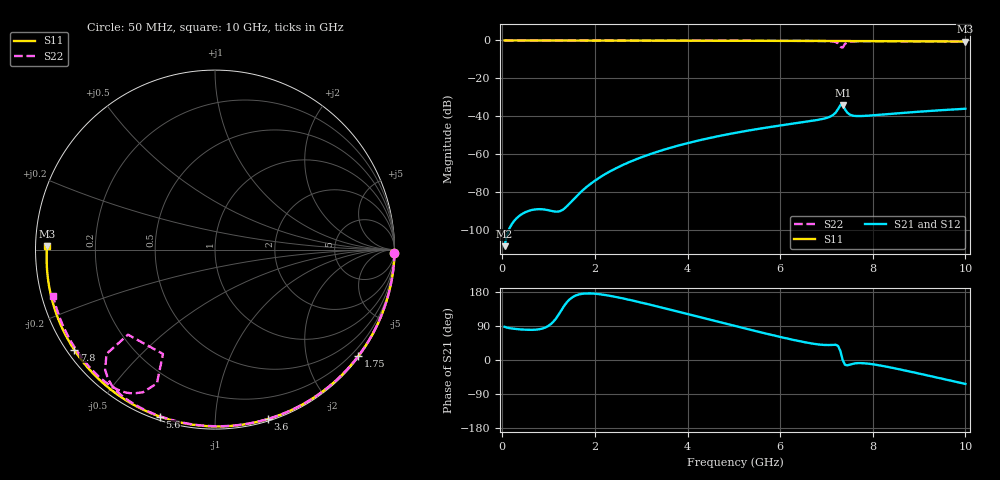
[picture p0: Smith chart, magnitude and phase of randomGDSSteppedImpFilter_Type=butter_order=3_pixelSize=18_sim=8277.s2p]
! freq	dB(S11)	phase(S11)	dB(S12)	phase(S12)
!  dB(S21)	phase(S21)	dB(S22)	phase(S22)
!S-par simulation data
#  GHz  S  DB  R 50
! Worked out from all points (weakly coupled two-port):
!   200 points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, 50 MHz to 10 GHz, reference 50 ohm
!   highest |S21| = -34.10 dB at 7.35 GHz (marker M1); lowest = -108.4 dB at 50 MHz (marker M2)
!   lowest |S11| = -0.6 dB at 10 GHz (marker M3), VSWR 30.22, Z = 1.65 + j0.558 ohm
!   |S11| at or under -10 dB: nowhere
!   |S22| runs from -3.7 to 0.0 dB; largest |S21 - S12| = 0
!   S11 on the Smith chart (normalised r, x): 50 MHz: open; 1.75 GHz: 0.03, -3.02; 3.6 GHz: 0.02, -1.36; 5.6 GHz: 0.02, -0.72; 7.8 GHz: 0.02, -0.32; 10 GHz: 0.03, +0.01
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0.05  -0.00 -1.1  -108.41 87.5  -108.41 87.5  -0.00 -1.0
0.8  -0.02 -17.0  -88.89 81.2  -88.89 81.2  -0.02 -15.3
1.65  -0.04 -34.6  -80.93 172.8  -80.93 172.8  -0.04 -31.2
1.75  -0.05 -36.6  -78.67 175.1  -78.67 175.1  -0.04 -33.1
2.05  -0.05 -42.7  -73.06 174.3  -73.06 174.3  -0.05 -38.6
2.45  -0.06 -50.6  -67.41 166.4  -67.41 166.4  -0.06 -45.9
3.4  -0.09 -69.0  -58.24 139.7  -58.24 139.7  -0.08 -62.7
3.6  -0.10 -72.8  -56.76 133.6  -56.76 133.6  -0.09 -66.1
5.05  -0.15 -98.9  -48.62 88.9  -48.62 88.9  -0.14 -90.4
5.6  -0.18 -108.3  -46.32 72.4  -46.32 72.4  -0.17 -99.3
6.7  -0.24 -126.7  -42.32 43.2  -42.32 43.2  -0.25 -117.6
7.1  -0.27 -133.2  -39.88 39.8  -39.88 39.8  -0.45 -127.3
7.2  -0.28 -134.8  -37.97 40.1  -37.97 40.1  -0.84 -132.4
7.25  -0.29 -135.7  -36.22 37.0  -36.22 37.0  -1.53 -136.1
7.3  -0.29 -136.5  -34.13 24.1  -34.13 24.1  -3.37 -135.7
7.35  -0.29 -137.3  -34.10 0.1  -34.10 0.1  -3.75 -116.5
7.4  -0.30 -138.1  -36.29 -12.6  -36.29 -12.6  -1.80 -113.4
7.45  -0.30 -138.9  -38.04 -14.0  -38.04 -14.0  -1.00 -116.8
7.55  -0.31 -140.5  -39.51 -10.5  -39.51 -10.5  -0.55 -121.9
7.8  -0.33 -144.6  -39.79 -8.5  -39.79 -8.5  -0.38 -128.7
8.35  -0.38 -153.6  -38.77 -18.9  -38.77 -18.9  -0.38 -138.5
10  -0.58 178.7  -35.97 -63.2  -35.97 -63.2  -0.56 -164.2
